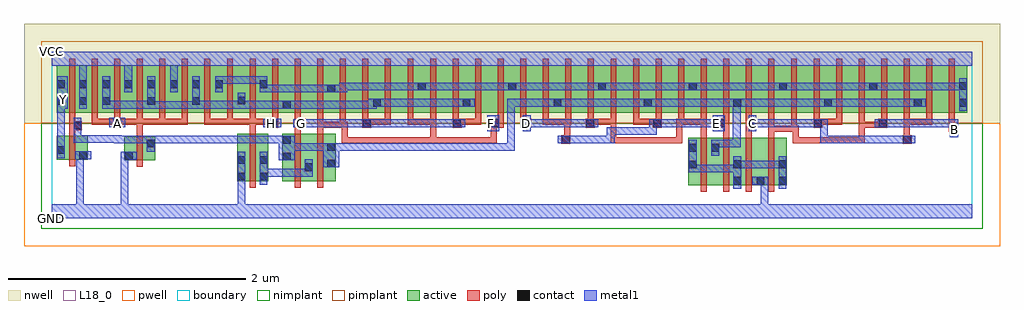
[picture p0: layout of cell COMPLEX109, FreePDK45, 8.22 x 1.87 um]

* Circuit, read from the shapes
.subckt COMPLEX109 A B C D E F G GND H VCC Y
M1 GND n1 Y VSUBS nfet w=0.2u l=0.05u
M2 n1 A GND VSUBS nfet w=0.2u l=0.05u
M3 n2 H GND VSUBS nfet w=0.4u l=0.05u
M4 n2 G n1 VSUBS nfet w=0.4u l=0.05u
M5 n1 F n2 VSUBS nfet w=0.4u l=0.05u
M6 n1 D n3 VSUBS nfet w=0.4u l=0.05u
M7 n3 E n1 VSUBS nfet w=0.4u l=0.05u
M8 GND C n3 VSUBS nfet w=0.4u l=0.05u
M9 n3 B GND VSUBS nfet w=0.4u l=0.05u
M10 VCC n1 Y n4 pfet w=0.4u l=0.05u
M11 n5 A VCC n4 pfet w=0.4u l=0.05u m=5
M12 n6 H n5 n4 pfet w=0.4u l=0.05u m=4
M13 n7 G n5 n4 pfet w=0.4u l=0.05u
M14 n6 F n7 n4 pfet w=0.4u l=0.05u
M15 n8 F n6 n4 pfet w=0.4u l=0.05u
M16 n5 G n8 n4 pfet w=0.4u l=0.05u
M17 n9 G n5 n4 pfet w=0.4u l=0.05u
M18 n6 F n9 n4 pfet w=0.4u l=0.05u
M19 n10 F n6 n4 pfet w=0.4u l=0.05u
M20 n5 G n10 n4 pfet w=0.4u l=0.05u
M21 n11 G n5 n4 pfet w=0.4u l=0.05u
M22 n6 F n11 n4 pfet w=0.4u l=0.05u
M23 n12 D n6 n4 pfet w=0.4u l=0.05u
M24 n1 E n12 n4 pfet w=0.4u l=0.05u
M25 n13 E n1 n4 pfet w=0.4u l=0.05u
M26 n6 D n13 n4 pfet w=0.4u l=0.05u
M27 n14 D n6 n4 pfet w=0.4u l=0.05u
M28 n1 E n14 n4 pfet w=0.4u l=0.05u
M29 n15 E n1 n4 pfet w=0.4u l=0.05u
M30 n6 D n15 n4 pfet w=0.4u l=0.05u
M31 n16 D n6 n4 pfet w=0.4u l=0.05u
M32 n1 E n16 n4 pfet w=0.4u l=0.05u
M33 n17 C n1 n4 pfet w=0.4u l=0.05u
M34 n6 B n17 n4 pfet w=0.4u l=0.05u
M35 n18 B n6 n4 pfet w=0.4u l=0.05u
M36 n1 C n18 n4 pfet w=0.4u l=0.05u
M37 n19 C n1 n4 pfet w=0.4u l=0.05u
M38 n6 B n19 n4 pfet w=0.4u l=0.05u
M39 n20 B n6 n4 pfet w=0.4u l=0.05u
M40 n1 C n20 n4 pfet w=0.4u l=0.05u
M41 n21 C n1 n4 pfet w=0.4u l=0.05u
M42 n6 B n21 n4 pfet w=0.4u l=0.05u
.ends

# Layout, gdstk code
import gdstk
lib = gdstk.Library(unit=1e-6, precision=1e-09)
def R(c, l, rs):  # rectangles x0, y0, x1, y1
    for r in rs: c.add(gdstk.rectangle(r[:2], r[2:], *l))
def A(c, l, x, y, w, h, nx, ny, dx, dy):  # array of equal rectangles
    R(c, l, [(x+i*dx, y+j*dy, x+i*dx+w, y+j*dy+h) for i in range(nx) for j in range(ny)])
active = (1, 0)
pwell = (2, 0)
nwell = (3, 0)
nimplant = (4, 0)
pimplant = (5, 0)
poly = (9, 0)
contact = (10, 0)
metal1 = (11, 0)
L18_0 = (18, 0)
boundary = (235, 0)

complex109 = lib.new_cell('COMPLEX109')
A(complex109, active, 0.04, 0.887, 0.075, 0.313, 3, 1, 0.38, 0)
A(complex109, active, 0.42, 0.887, 0.26, 0.4, 3, 1, 0.57, 0)
A(complex109, active, 0.605, 0.887, 0.27, 0.4, 3, 1, 0.57, 0)
A(complex109, active, 5.36, 0.887, 0.075, 0.313, 3, 1, 0.76, 0)
A(complex109, active, 5.965, 0.887, 0.23, 0.4, 3, 1, 0.38, 0)
A(complex109, active, 6.12, 0.887, 0.225, 0.4, 3, 1, 0.38, 0)
R(complex109, active, [(5.36,0.277,5.435,0.677), (5.36,0.277,5.625,0.677), (5.55,0.277,5.81,0.677), (5.735,0.277,6.005,0.677), (5.735,0.277,5.81,0.597), (5.93,0.277,6.19,0.677), (5.93,0.277,6.005,0.492), (6.115,0.277,6.19,0.677), (1.56,0.312,1.635,0.712), (1.56,0.312,1.82,0.712), (1.745,0.312,1.82,0.597), (1.94,0.312,2.2,0.712), (2.125,0.312,2.39,0.712), (2.125,0.312,2.2,0.597), (2.315,0.312,2.39,0.712), (1.94,0.332,2.015,0.712), (5.55,0.332,5.625,0.63), (0.61,0.487,0.87,0.687), (0.61,0.487,0.685,0.687), (0.04,0.492,0.3,0.692), (0.04,0.492,0.115,0.692), (0.225,0.492,0.3,0.692), (0.795,0.545,0.87,0.687), (0.04,0.887,0.3,1.287), (0.225,0.887,0.3,1.287), (0.225,0.887,0.495,1.287), (0.605,0.887,0.68,1.287), (0.8,0.887,1.065,1.287), (0.99,0.887,1.065,1.287), (1.175,0.887,1.25,1.2), (1.37,0.887,1.635,1.287), (1.37,0.887,1.445,1.2), (1.56,0.887,1.635,1.07), (1.745,0.887,1.82,1.2), (1.94,0.887,2.165,1.287), (1.94,0.887,2.015,1.07), (2.165,0.887,2.39,1.287), (2.315,0.887,2.39,1.2), (2.315,0.887,2.545,1.287), (2.545,0.887,2.775,1.287), (2.7,0.887,2.925,1.287), (2.7,0.887,2.775,1.07), (2.925,0.887,3.152,1.287), (3.077,0.887,3.152,1.2), (3.077,0.887,3.305,1.287), (3.305,0.887,3.53,1.287), (3.455,0.887,3.685,1.287), (3.455,0.887,3.53,1.07), (3.685,0.887,3.915,1.287), (3.84,0.887,3.915,1.2), (3.84,0.887,4.065,1.287), (4.065,0.887,4.295,1.287), (4.22,0.887,4.445,1.287), (4.22,0.887,4.295,1.07), (4.445,0.887,4.67,1.287), (4.595,0.887,4.67,1.2), (4.595,0.887,4.825,1.287), (4.825,0.887,5.055,1.287), (4.98,0.887,5.205,1.287), (4.98,0.887,5.055,1.07), (5.205,0.887,5.435,1.287), (5.36,0.887,5.585,1.287), (5.585,0.887,5.81,1.287), (5.735,0.887,5.965,1.287), (5.735,0.887,5.81,1.07), (6.5,0.887,6.575,1.07), (7.105,0.887,7.33,1.287), (7.255,0.887,7.485,1.287), (7.255,0.887,7.33,1.07), (7.485,0.887,7.71,1.287), (7.635,0.887,7.71,1.2)])
R(complex109, pwell, [(-0.235,-0.235,7.985,0.8)])
R(complex109, nwell, [(-0.235,0.8,7.985,1.635)])
R(complex109, nimplant, [(-0.09,-0.09,7.84,0.8)])
R(complex109, pimplant, [(-0.09,0.8,7.84,1.49)])
A(complex109, poly, 5.465, 0.222, 0.05, 0.51, 4, 1, 0.19, 0)
A(complex109, poly, 2.045, 0.762, 0.092, 0.075, 3, 1, 1.9, 0)
A(complex109, poly, 0.335, 0.787, 0.05, 0.095, 10, 1, 0.19, 0)
A(complex109, poly, 2.615, 0.787, 0.05, 0.095, 18, 1, 0.19, 0)
A(complex109, poly, 6.985, 0.787, 0.05, 0.095, 3, 1, 0.19, 0)
A(complex109, poly, 0.145, 0.832, 0.05, 0.51, 40, 1, 0.19, 0)
R(complex109, poly, [(1.665,0.257,1.715,0.767), (2.045,0.257,2.095,0.767), (2.235,0.257,2.285,0.767), (0.715,0.432,0.765,0.742), (0.145,0.437,0.195,0.747), (4.29,0.625,4.365,0.7), (7.167,0.625,7.242,0.7), (2.44,0.63,2.49,0.68), (2.44,0.63,2.49,0.68), (2.44,0.63,2.49,0.68), (2.44,0.63,2.49,0.68), (2.44,0.63,2.49,0.68), (2.44,0.63,2.49,0.812), (2.44,0.63,2.69,0.68), (2.64,0.63,2.69,0.68), (2.64,0.63,2.69,0.68), (2.64,0.63,2.69,0.68), (2.64,0.63,2.822,0.68), (2.772,0.63,2.822,0.68), (2.772,0.63,2.987,0.68), (2.937,0.63,2.987,0.68), (2.937,0.63,2.987,0.68), (2.937,0.63,2.987,0.68), (2.937,0.63,3.187,0.68), (3.137,0.63,3.187,0.68), (3.137,0.63,3.235,0.68), (3.185,0.63,3.235,0.68), (3.185,0.63,3.235,0.837), (3.185,0.63,3.32,0.68), (3.27,0.63,3.32,0.68), (3.27,0.63,3.367,0.68), (3.317,0.63,3.367,0.68), (3.317,0.63,3.615,0.68), (3.565,0.63,3.615,0.68), (3.565,0.63,3.615,0.68), (3.565,0.63,3.615,0.68), (3.565,0.63,3.747,0.68), (3.697,0.63,3.747,0.68), (3.697,0.63,3.747,0.68), (3.697,0.63,3.747,0.68), (3.697,0.63,3.747,0.812), (4.705,0.63,4.755,0.68), (4.705,0.63,4.755,0.68), (4.705,0.63,4.755,0.68), (4.705,0.63,4.755,0.837), (4.705,0.63,4.977,0.68), (4.927,0.63,4.977,0.68), (4.927,0.63,4.977,0.68), (4.927,0.63,4.977,0.68), (4.927,0.63,5.177,0.68), (5.127,0.63,5.177,0.68), (5.127,0.63,5.177,0.68), (5.127,0.63,5.177,0.68), (5.127,0.63,5.31,0.68), (5.26,0.63,5.31,0.68), (5.26,0.63,5.31,0.837), (6.24,0.63,6.29,0.68), (6.24,0.63,6.29,0.68), (6.24,0.63,6.29,0.68), (6.24,0.63,6.422,0.68), (6.24,0.63,6.29,0.777), (6.372,0.63,6.422,0.68), (6.372,0.63,6.422,0.68), (6.372,0.63,6.422,0.68), (6.372,0.63,6.622,0.68), (6.572,0.63,6.622,0.68), (6.572,0.63,6.622,0.68), (6.572,0.63,6.622,0.68), (6.572,0.63,6.845,0.68), (6.795,0.63,6.845,0.68), (6.795,0.63,6.845,0.68), (6.795,0.63,6.845,0.68), (6.795,0.63,6.845,0.812), (4.315,0.65,4.365,0.7), (4.315,0.65,4.365,0.7), (4.315,0.65,4.365,0.837), (7.175,0.65,7.225,0.7), (7.175,0.65,7.225,0.7), (7.175,0.65,7.225,0.837), (5.465,0.682,5.515,0.837), (5.655,0.682,5.705,0.812), (5.845,0.682,5.895,0.812), (6.035,0.682,6.085,0.777), (0.715,0.692,0.765,0.837), (0.145,0.697,0.195,0.792), (1.665,0.717,1.715,0.837), (2.045,0.717,2.095,0.812), (2.235,0.717,2.285,0.812), (6.035,0.727,6.085,0.777), (6.035,0.727,6.085,0.777), (6.035,0.727,6.085,0.777), (6.035,0.727,6.275,0.777), (6.035,0.727,6.085,0.882), (6.225,0.727,6.275,0.777), (6.225,0.727,6.275,0.777), (6.225,0.727,6.275,0.882), (6.225,0.727,6.29,0.777), (7.555,0.727,7.63,0.802), (0.145,0.742,0.252,0.817), (7.555,0.752,7.605,0.882), (0.512,0.762,0.587,0.837), (1.827,0.762,1.905,0.837), (2.235,0.762,2.285,0.812), (2.235,0.762,2.285,0.812), (2.235,0.762,2.285,0.812), (2.235,0.762,2.475,0.812), (2.235,0.762,2.285,0.882), (2.425,0.762,2.475,0.882), (2.425,0.762,2.49,0.812), (2.615,0.762,2.69,0.837), (3.375,0.762,3.452,0.837), (3.697,0.762,3.747,0.812), (3.697,0.762,3.747,0.812), (3.697,0.762,3.805,0.837), (4.497,0.762,4.572,0.837), (5.06,0.762,5.135,0.837), (5.597,0.762,5.705,0.837), (6.415,0.762,6.49,0.837), (6.795,0.762,6.845,0.812), (6.795,0.762,7.01,0.812), (6.795,0.762,6.845,0.882), (6.96,0.762,7.035,0.837), (6.96,0.762,7.01,0.812), (6.96,0.762,7.01,0.812), (0.145,0.767,0.195,0.882), (0.335,0.787,0.385,0.837), (0.335,0.787,0.385,0.837), (0.335,0.787,0.385,0.837), (0.335,0.787,0.562,0.837), (0.537,0.787,0.765,0.837), (0.715,0.787,0.765,0.837), (0.715,0.787,0.765,0.837), (0.715,0.787,0.765,0.837), (0.715,0.787,0.955,0.837), (0.905,0.787,0.955,0.837), (0.905,0.787,0.955,0.837), (0.905,0.787,0.955,0.837), (0.905,0.787,1.145,0.837), (1.095,0.787,1.145,0.837), (1.095,0.787,1.145,0.837), (1.095,0.787,1.145,0.837), (1.285,0.787,1.335,0.837), (1.285,0.787,1.335,0.837), (1.285,0.787,1.335,0.837), (1.285,0.787,1.525,0.837), (1.475,0.787,1.525,0.837), (1.475,0.787,1.525,0.837), (1.475,0.787,1.525,0.837), (1.475,0.787,1.715,0.837), (1.665,0.787,1.715,0.837), (1.665,0.787,1.877,0.837), (1.827,0.787,1.877,0.837), (1.827,0.787,1.877,0.837), (2.64,0.787,2.855,0.837), (2.805,0.787,2.855,0.837), (2.805,0.787,2.855,0.837), (2.805,0.787,2.855,0.837), (2.995,0.787,3.045,0.837), (2.995,0.787,3.187,0.837), (3.137,0.787,3.187,0.837), (3.137,0.787,3.235,0.837), (3.185,0.787,3.235,0.837), (3.185,0.787,3.235,0.837), (3.185,0.787,3.235,0.837), (3.402,0.787,3.452,0.837), (3.402,0.787,3.452,0.837), (3.402,0.787,3.615,0.837), (3.565,0.787,3.615,0.837), (4.135,0.787,4.185,0.837), (4.135,0.787,4.365,0.837), (4.315,0.787,4.365,0.837), (4.315,0.787,4.365,0.837), (4.315,0.787,4.375,0.837), (4.522,0.787,4.572,0.837), (4.522,0.787,4.572,0.837), (4.522,0.787,4.755,0.837), (4.705,0.787,4.755,0.837), (4.705,0.787,4.755,0.837), (4.705,0.787,4.755,0.837), (4.895,0.787,4.945,0.837), (4.895,0.787,4.945,0.837), (4.895,0.787,4.945,0.837), (4.895,0.787,5.11,0.837), (5.26,0.787,5.31,0.837), (5.26,0.787,5.31,0.837), (5.26,0.787,5.325,0.837), (5.275,0.787,5.515,0.837), (5.465,0.787,5.515,0.837), (5.465,0.787,5.515,0.837), (5.465,0.787,5.515,0.837), (6.415,0.787,6.465,0.882), (6.44,0.787,6.49,0.837), (6.44,0.787,6.49,0.837), (6.44,0.787,6.655,0.837), (6.605,0.787,6.655,0.882), (6.605,0.787,6.655,0.837), (7.175,0.787,7.225,0.837), (7.175,0.787,7.415,0.837), (7.365,0.787,7.415,0.837), (7.365,0.787,7.415,0.837), (7.365,0.787,7.415,0.837)])
A(complex109, contact, 5.365, 1.077, 0.065, 0.065, 3, 1, 0.76, 0)
R(complex109, contact, [(5.74,0.282,5.805,0.347), (5.935,0.282,6,0.347), (6.12,0.282,6.185,0.347), (1.565,0.317,1.63,0.382), (1.75,0.317,1.815,0.382), (2.13,0.395,2.195,0.46), (5.365,0.42,5.43,0.485), (5.74,0.422,5.805,0.487), (6.12,0.422,6.185,0.487), (2.32,0.427,2.385,0.492), (1.565,0.457,1.63,0.522), (1.75,0.457,1.815,0.522), (1.945,0.487,2.01,0.552), (0.615,0.492,0.68,0.557), (0.23,0.497,0.295,0.562), (0.045,0.54,0.11,0.605), (5.365,0.56,5.43,0.625), (5.555,0.56,5.62,0.625), (2.32,0.567,2.385,0.632), (0.8,0.595,0.865,0.66), (1.945,0.627,2.01,0.692), (4.295,0.63,4.36,0.695), (7.172,0.63,7.237,0.695), (7.56,0.732,7.625,0.797), (0.182,0.747,0.247,0.812), (0.517,0.767,0.582,0.832), (1.832,0.767,1.897,0.832), (2.067,0.767,2.132,0.832), (2.62,0.767,2.685,0.832), (3.38,0.767,3.445,0.832), (3.702,0.767,3.767,0.832), (3.967,0.767,4.032,0.832), (4.502,0.767,4.567,0.832), (5.065,0.767,5.13,0.832), (5.602,0.767,5.667,0.832), (5.867,0.767,5.932,0.832), (6.42,0.767,6.485,0.832), (6.965,0.767,7.03,0.832), (1.945,0.922,2.01,0.987), (2.705,0.94,2.77,1.005), (3.46,0.94,3.525,1.005), (4.225,0.94,4.29,1.005), (4.985,0.94,5.05,1.005), (5.74,0.94,5.805,1.005), (6.505,0.94,6.57,1.005), (7.26,0.94,7.325,1.005), (7.64,0.94,7.705,1.005), (0.045,0.955,0.11,1.02), (0.23,0.955,0.295,1.02), (0.425,0.955,0.49,1.02), (0.805,0.955,0.87,1.02), (1.18,0.955,1.245,1.02), (1.565,0.957,1.63,1.022), (2.32,1.06,2.385,1.125), (3.082,1.077,3.147,1.142), (3.845,1.077,3.91,1.142), (4.6,1.077,4.665,1.142), (7.64,1.08,7.705,1.145), (0.045,1.095,0.11,1.16), (0.23,1.095,0.295,1.16), (0.425,1.095,0.49,1.16), (0.61,1.095,0.675,1.16), (0.805,1.095,0.87,1.16), (0.995,1.095,1.06,1.16), (1.18,1.095,1.245,1.16), (1.375,1.095,1.44,1.16), (1.75,1.095,1.815,1.16)])
A(complex109, metal1, 2.422, 0.767, 0.16, 0.065, 1, 3, 0, 0.155)
A(complex109, metal1, 2.517, 0.767, 0.065, 0.065, 1, 3, 0, 0.155)
A(complex109, metal1, 5.33, 1.077, 0.135, 0.065, 3, 1, 0.76, 0)
R(complex109, metal1, [(0,0,7.75,0.115), (0.205,0.05,0.27,0.562), (0.58,0.05,0.645,0.115), (0.58,0.05,0.645,0.115), (0.58,0.05,0.645,0.115), (0.58,0.05,0.645,0.115), (0.58,0.05,0.645,0.557), (1.565,0.05,1.63,0.115), (1.565,0.05,1.63,0.115), (1.565,0.05,1.63,0.115), (1.565,0.05,1.63,0.115), (1.565,0.05,1.63,0.347), (5.97,0.05,6.035,0.115), (5.97,0.05,6.035,0.115), (5.97,0.05,6.035,0.115), (5.97,0.05,6.035,0.115), (5.97,0.05,6.035,0.347), (5.74,0.247,5.805,0.522), (6.12,0.247,6.185,0.522), (1.565,0.282,1.63,0.557), (1.75,0.282,1.815,0.557), (5.9,0.282,6.035,0.347), (1.75,0.35,1.815,0.415), (1.75,0.35,1.815,0.415), (1.75,0.35,1.975,0.415), (1.91,0.35,1.975,0.415), (1.91,0.35,2.195,0.415), (2.13,0.35,2.195,0.425), (2.13,0.36,2.195,0.425), (2.13,0.36,2.195,0.495), (5.365,0.385,5.43,0.66), (5.365,0.385,5.482,0.45), (5.417,0.385,5.482,0.45), (5.417,0.385,5.632,0.45), (5.567,0.385,5.632,0.45), (5.567,0.385,5.632,0.45), (5.567,0.385,5.632,0.45), (5.567,0.385,5.805,0.45), (5.74,0.42,5.965,0.485), (5.9,0.42,5.965,0.485), (5.9,0.42,5.965,0.485), (5.9,0.42,5.965,0.485), (5.9,0.42,6.12,0.485), (6.055,0.42,6.12,0.485), (6.055,0.42,6.185,0.485), (2.285,0.427,2.42,0.632), (1.91,0.487,2.045,0.695), (0.58,0.492,0.645,0.557), (0.58,0.492,0.645,0.557), (0.58,0.492,0.645,0.557), (0.58,0.492,0.645,0.557), (0.58,0.492,0.715,0.557), (0.195,0.497,0.33,0.562), (0.205,0.497,0.27,0.562), (0.205,0.497,0.27,0.562), (0.205,0.497,0.27,0.562), (0.205,0.497,0.27,0.562), (0.205,0.497,0.27,0.562), (0.205,0.497,0.27,0.562), (0.205,0.497,0.27,0.562), (0.205,0.497,0.27,0.562), (0.045,0.505,0.11,0.64), (5.555,0.525,5.62,0.66), (0.8,0.56,0.865,0.695), (1.98,0.567,2.045,0.632), (1.98,0.567,2.045,0.632), (1.98,0.567,2.182,0.632), (2.117,0.567,2.182,0.632), (2.117,0.567,2.35,0.632), (2.285,0.567,2.35,0.632), (2.285,0.567,2.35,0.632), (2.355,0.567,2.487,0.632), (2.422,0.567,2.487,0.632), (2.422,0.567,2.582,0.632), (2.517,0.567,2.582,0.632), (2.517,0.567,2.72,0.632), (2.655,0.567,2.72,0.632), (2.655,0.567,2.72,0.632), (2.655,0.567,2.72,0.632), (2.655,0.567,2.942,0.632), (2.877,0.567,2.942,0.632), (2.877,0.567,2.942,0.632), (2.877,0.567,2.942,0.632), (2.877,0.567,3.08,0.632), (3.015,0.567,3.08,0.632), (3.015,0.567,3.08,0.632), (3.015,0.567,3.08,0.632), (3.015,0.567,3.272,0.632), (3.207,0.567,3.272,0.632), (3.207,0.567,3.32,0.632), (3.255,0.567,3.32,0.632), (3.255,0.567,3.457,0.632), (3.392,0.567,3.457,0.632), (3.392,0.567,3.457,0.632), (3.392,0.567,3.457,0.632), (3.392,0.567,3.595,0.632), (3.53,0.567,3.595,0.632), (3.53,0.567,3.737,0.632), (3.672,0.567,3.737,0.632), (3.672,0.567,3.737,0.632), (3.672,0.567,3.737,0.632), (3.672,0.567,3.9,0.632), (3.835,0.567,3.9,0.632), (3.835,0.567,3.9,1.005), (0.045,0.575,0.11,0.64), (0.045,0.575,0.11,0.645), (0.045,0.58,0.11,0.645), (0.045,0.58,0.11,0.645), (0.045,0.58,0.11,0.985), (5.555,0.595,5.62,0.66), (5.555,0.595,5.62,0.66), (5.555,0.595,5.8,0.66), (5.735,0.595,5.8,0.66), (5.735,0.595,5.8,1.005), (0.525,0.63,0.727,0.695), (0.525,0.63,0.59,0.7), (0.662,0.63,0.727,0.695), (0.662,0.63,0.727,0.695), (0.662,0.63,0.727,0.695), (0.662,0.63,0.865,0.695), (0.8,0.63,0.865,0.695), (0.8,0.63,0.865,0.695), (0.8,0.63,1.107,0.695), (1.042,0.63,1.107,0.695), (1.042,0.63,1.107,0.695), (1.042,0.63,1.107,0.695), (1.042,0.63,1.245,0.695), (1.18,0.63,1.245,0.695), (1.18,0.63,1.245,0.695), (1.18,0.63,1.245,0.695), (1.18,0.63,1.492,0.695), (1.427,0.63,1.492,0.695), (1.427,0.63,1.492,0.695), (1.427,0.63,1.492,0.695), (1.427,0.63,1.677,0.695), (1.612,0.63,1.677,0.695), (1.612,0.63,1.677,0.695), (1.612,0.63,1.677,0.695), (1.612,0.63,1.837,0.695), (1.772,0.63,1.837,0.695), (1.772,0.63,1.837,0.695), (1.772,0.63,1.837,0.695), (1.772,0.63,1.975,0.695), (4.26,0.63,4.395,0.695), (4.33,0.63,4.462,0.695), (4.397,0.63,4.462,0.695), (4.397,0.63,4.602,0.695), (4.537,0.63,4.602,0.695), (4.537,0.63,4.74,0.695), (4.675,0.63,4.74,0.695), (4.675,0.63,4.74,0.767), (6.47,0.63,6.535,0.695), (6.47,0.63,6.535,0.695), (6.47,0.63,6.535,0.695), (6.47,0.63,6.672,0.695), (6.47,0.63,6.535,0.832), (6.607,0.63,6.672,0.695), (6.607,0.63,6.777,0.695), (6.712,0.63,6.777,0.695), (6.712,0.63,6.81,0.695), (6.745,0.63,6.81,0.695), (6.745,0.63,6.947,0.695), (6.882,0.63,6.947,0.695), (6.882,0.63,6.947,0.695), (6.882,0.63,6.947,0.695), (6.882,0.63,7.152,0.695), (7.087,0.63,7.152,0.695), (7.087,0.63,7.202,0.695), (7.137,0.63,7.272,0.695), (0.182,0.635,0.247,0.7), (0.182,0.635,0.385,0.7), (0.182,0.635,0.247,0.777), (0.32,0.635,0.385,0.7), (0.32,0.635,0.385,0.7), (0.32,0.635,0.385,0.7), (0.32,0.635,0.59,0.7), (7.56,0.682,7.632,0.832), (4.675,0.702,4.74,0.767), (4.675,0.702,4.74,0.767), (4.675,0.702,4.74,0.767), (4.675,0.702,4.877,0.767), (4.812,0.702,4.877,0.767), (4.812,0.702,4.877,0.767), (4.812,0.702,4.877,0.767), (4.812,0.702,5.095,0.767), (5.03,0.702,5.095,0.832), (0.182,0.712,0.247,0.777), (0.182,0.712,0.247,0.777), (0.182,0.712,0.247,0.847), (3.667,0.732,3.767,0.867), (3.967,0.732,4.032,0.867), (5.567,0.732,5.667,0.867), (5.867,0.732,5.932,0.867), (0.482,0.767,0.617,0.845), (1.782,0.767,1.932,0.835), (2.032,0.767,2.167,0.832), (2.102,0.767,2.182,0.832), (2.117,0.767,2.182,0.832), (2.117,0.767,2.35,0.832), (2.285,0.767,2.35,0.832), (2.285,0.767,2.35,0.832), (2.285,0.767,2.35,0.832), (2.285,0.767,2.487,0.832), (2.422,0.767,2.487,0.832), (2.517,0.767,2.65,0.832), (2.585,0.767,2.72,0.832), (2.655,0.767,2.72,0.832), (2.655,0.767,2.72,0.832), (2.655,0.767,2.942,0.832), (2.877,0.767,2.942,0.832), (2.877,0.767,2.942,0.832), (2.877,0.767,2.942,0.832), (2.877,0.767,3.117,0.832), (3.052,0.767,3.117,0.832), (3.052,0.767,3.117,0.832), (3.052,0.767,3.117,0.832), (3.052,0.767,3.255,0.832), (3.19,0.767,3.255,0.832), (3.19,0.767,3.32,0.832), (3.255,0.767,3.32,0.832), (3.255,0.767,3.41,0.832), (3.345,0.767,3.48,0.832), (3.967,0.767,4.117,0.832), (4.052,0.767,4.117,0.832), (4.052,0.767,4.187,0.832), (4.122,0.767,4.187,0.832), (4.122,0.767,4.325,0.832), (4.26,0.767,4.325,0.832), (4.26,0.767,4.325,0.832), (4.26,0.767,4.325,0.832), (4.26,0.767,4.462,0.832), (4.397,0.767,4.462,0.832), (4.397,0.767,4.532,0.832), (4.467,0.767,4.602,0.832), (5.03,0.767,5.095,0.832), (5.03,0.767,5.095,0.832), (5.03,0.767,5.095,0.832), (5.03,0.767,5.165,0.832), (5.1,0.767,5.257,0.832), (5.192,0.767,5.257,0.832), (5.192,0.767,5.302,0.832), (5.237,0.767,5.302,0.832), (5.237,0.767,5.482,0.832), (5.417,0.767,5.482,0.832), (5.417,0.767,5.482,0.832), (5.417,0.767,5.482,0.832), (5.417,0.767,5.632,0.832), (5.567,0.767,5.632,0.832), (5.567,0.767,5.632,0.832), (5.867,0.767,5.982,0.832), (5.917,0.767,5.982,0.832), (5.917,0.767,6.12,0.832), (6.055,0.767,6.12,0.832), (6.055,0.767,6.257,0.832), (6.192,0.767,6.257,0.832), (6.192,0.767,6.257,0.832), (6.192,0.767,6.257,0.832), (6.192,0.767,6.395,0.832), (6.33,0.767,6.395,0.832), (6.33,0.767,6.45,0.832), (6.385,0.767,6.52,0.832), (6.455,0.767,6.535,0.832), (6.47,0.767,6.535,0.832), (6.93,0.767,7.065,0.832), (7,0.767,7.152,0.832), (7.087,0.767,7.152,0.832), (7.087,0.767,7.29,0.832), (7.225,0.767,7.29,0.832), (7.225,0.767,7.29,0.832), (7.225,0.767,7.29,0.832), (7.225,0.767,7.427,0.832), (7.362,0.767,7.427,0.832), (7.362,0.767,7.427,0.832), (7.362,0.767,7.427,0.832), (7.362,0.767,7.625,0.832), (7.64,0.905,7.705,1.18), (0.045,0.92,0.11,0.985), (0.045,0.92,0.11,0.985), (0.045,0.92,0.132,1.195), (0.23,0.92,0.295,1.195), (0.425,0.92,0.49,1.195), (0.805,0.92,0.87,0.985), (0.805,0.92,0.87,0.985), (0.805,0.92,0.87,1.195), (0.805,0.92,1.107,0.985), (1.042,0.92,1.107,0.985), (1.042,0.92,1.107,0.985), (1.042,0.92,1.107,0.985), (1.042,0.92,1.245,0.985), (1.18,0.92,1.245,1.195), (0.425,0.922,0.535,0.987), (0.47,0.922,0.535,0.987), (0.47,0.922,0.727,0.987), (0.662,0.922,0.727,0.987), (0.662,0.922,0.727,0.987), (0.662,0.922,0.727,0.987), (0.662,0.922,0.87,0.987), (1.18,0.922,1.245,0.987), (1.18,0.922,1.245,0.987), (1.18,0.922,1.492,0.987), (1.427,0.922,1.492,0.987), (1.427,0.922,1.492,0.987), (1.427,0.922,1.492,0.987), (1.427,0.922,1.63,0.987), (1.565,0.922,1.63,0.987), (1.565,0.922,1.63,0.987), (1.565,0.922,1.63,1.057), (1.565,0.922,1.815,0.987), (1.75,0.922,1.815,0.987), (1.75,0.922,1.815,0.987), (1.75,0.922,1.815,0.987), (1.75,0.922,1.975,0.987), (1.91,0.922,2.045,0.987), (1.98,0.922,2.045,0.987), (1.98,0.922,2.045,0.987), (1.98,0.922,2.182,0.987), (2.117,0.922,2.182,0.987), (2.117,0.922,2.35,0.987), (2.285,0.922,2.35,0.987), (2.285,0.922,2.35,0.987), (2.285,0.922,2.35,0.987), (2.285,0.922,2.487,0.987), (2.422,0.922,2.487,0.987), (2.517,0.922,2.735,0.987), (2.67,0.922,2.735,1.005), (2.67,0.94,2.735,1.005), (2.67,0.94,2.805,1.005), (2.74,0.94,2.942,1.005), (2.877,0.94,2.942,1.005), (2.877,0.94,2.942,1.005), (2.877,0.94,2.942,1.005), (2.877,0.94,3.082,1.005), (3.017,0.94,3.082,1.005), (3.017,0.94,3.182,1.005), (3.117,0.94,3.182,1.005), (3.117,0.94,3.255,1.005), (3.19,0.94,3.255,1.005), (3.19,0.94,3.32,1.005), (3.255,0.94,3.32,1.005), (3.255,0.94,3.457,1.005), (3.392,0.94,3.457,1.005), (3.392,0.94,3.49,1.005), (3.425,0.94,3.56,1.005), (3.835,0.94,3.9,1.005), (3.835,0.94,3.9,1.005), (3.835,0.94,3.9,1.005), (3.835,0.94,3.905,1.005), (3.84,0.94,3.905,1.005), (3.84,0.94,4.082,1.005), (4.017,0.94,4.082,1.005), (4.017,0.94,4.187,1.005), (4.122,0.94,4.187,1.005), (4.122,0.94,4.255,1.005), (4.19,0.94,4.325,1.005), (4.26,0.94,4.325,1.005), (4.26,0.94,4.325,1.005), (4.26,0.94,4.462,1.005), (4.397,0.94,4.462,1.005), (4.397,0.94,4.6,1.005), (4.535,0.94,4.6,1.005), (4.535,0.94,4.6,1.005), (4.535,0.94,4.6,1.005), (4.535,0.94,4.74,1.005), (4.675,0.94,4.74,1.005), (4.675,0.94,4.877,1.005), (4.812,0.94,4.877,1.005), (4.812,0.94,4.877,1.005), (4.812,0.94,4.877,1.005), (4.812,0.94,5.015,1.005), (4.95,0.94,5.085,1.005), (5.02,0.94,5.085,1.005), (5.02,0.94,5.085,1.005), (5.02,0.94,5.257,1.005), (5.192,0.94,5.257,1.005), (5.192,0.94,5.302,1.005), (5.237,0.94,5.302,1.005), (5.237,0.94,5.482,1.005), (5.417,0.94,5.482,1.005), (5.417,0.94,5.482,1.005), (5.417,0.94,5.482,1.005), (5.417,0.94,5.632,1.005), (5.567,0.94,5.632,1.005), (5.567,0.94,5.77,1.005), (5.705,0.94,5.77,1.005), (5.705,0.94,5.77,1.005), (5.705,0.94,5.84,1.005), (5.735,0.94,5.8,1.005), (5.735,0.94,5.8,1.005), (5.762,0.94,5.827,1.005), (5.762,0.94,5.827,1.005), (5.762,0.94,5.977,1.005), (5.912,0.94,5.977,1.005), (5.912,0.94,5.977,1.005), (5.912,0.94,5.977,1.005), (5.912,0.94,6.12,1.005), (6.055,0.94,6.12,1.005), (6.055,0.94,6.12,1.005), (6.055,0.94,6.12,1.005), (6.055,0.94,6.257,1.005), (6.192,0.94,6.257,1.005), (6.192,0.94,6.395,1.005), (6.33,0.94,6.395,1.005), (6.33,0.94,6.535,1.005), (6.47,0.94,6.535,1.005), (6.47,0.94,6.535,1.005), (6.47,0.94,6.605,1.005), (6.54,0.94,6.672,1.005), (6.607,0.94,6.672,1.005), (6.607,0.94,6.777,1.005), (6.712,0.94,6.777,1.005), (6.712,0.94,6.81,1.005), (6.745,0.94,6.81,1.005), (6.745,0.94,7,1.005), (6.935,0.94,7,1.005), (6.935,0.94,7,1.005), (6.935,0.94,7,1.005), (6.935,0.94,7.152,1.005), (7.087,0.94,7.152,1.005), (7.087,0.94,7.29,1.005), (7.225,0.94,7.29,1.005), (7.225,0.94,7.29,1.005), (7.225,0.94,7.36,1.005), (0.61,1.06,0.675,1.195), (0.995,1.06,1.06,1.195), (1.375,1.06,1.44,1.195), (1.75,1.06,1.815,1.125), (1.75,1.06,1.815,1.125), (1.75,1.06,1.815,1.195), (1.75,1.06,2.045,1.125), (1.98,1.06,2.045,1.125), (1.98,1.06,2.045,1.125), (1.98,1.06,2.045,1.125), (1.98,1.06,2.182,1.125), (2.117,1.06,2.182,1.125), (2.117,1.06,2.35,1.125), (2.285,1.06,2.35,1.125), (2.285,1.06,2.35,1.125), (2.285,1.06,2.42,1.125), (2.355,1.06,2.487,1.125), (2.422,1.06,2.487,1.142), (2.517,1.077,2.805,1.142), (2.74,1.077,2.805,1.142), (2.74,1.077,2.805,1.142), (2.74,1.077,2.805,1.142), (2.74,1.077,2.942,1.142), (2.877,1.077,2.942,1.142), (2.877,1.077,2.942,1.142), (2.877,1.077,2.942,1.142), (2.877,1.077,3.112,1.142), (3.047,1.077,3.112,1.142), (3.047,1.077,3.112,1.142), (3.047,1.077,3.182,1.142), (3.117,1.077,3.272,1.142), (3.207,1.077,3.272,1.142), (3.207,1.077,3.32,1.142), (3.255,1.077,3.32,1.142), (3.255,1.077,3.457,1.142), (3.392,1.077,3.457,1.142), (3.392,1.077,3.457,1.142), (3.392,1.077,3.457,1.142), (3.392,1.077,3.595,1.142), (3.53,1.077,3.595,1.142), (3.53,1.077,3.595,1.142), (3.53,1.077,3.595,1.142), (3.53,1.077,3.762,1.142), (3.697,1.077,3.762,1.142), (3.697,1.077,3.875,1.142), (3.81,1.077,3.945,1.142), (3.88,1.077,3.945,1.142), (3.88,1.077,3.945,1.142), (3.88,1.077,4.117,1.142), (4.052,1.077,4.117,1.142), (4.052,1.077,4.187,1.142), (4.122,1.077,4.187,1.142), (4.122,1.077,4.325,1.142), (4.26,1.077,4.325,1.142), (4.26,1.077,4.325,1.142), (4.26,1.077,4.325,1.142), (4.26,1.077,4.462,1.142), (4.397,1.077,4.462,1.142), (4.397,1.077,4.532,1.142), (4.467,1.077,4.532,1.142), (4.467,1.077,4.63,1.142), (4.565,1.077,4.7,1.142), (4.635,1.077,4.74,1.142), (4.675,1.077,4.74,1.142), (4.675,1.077,4.877,1.142), (4.812,1.077,4.877,1.142), (4.812,1.077,4.877,1.142), (4.812,1.077,4.877,1.142), (4.812,1.077,5.12,1.142), (5.055,1.077,5.12,1.142), (5.055,1.077,5.12,1.142), (5.055,1.077,5.12,1.142), (5.055,1.077,5.257,1.142), (5.192,1.077,5.257,1.142), (5.192,1.077,5.302,1.142), (5.237,1.077,5.302,1.142), (5.237,1.077,5.395,1.142), (5.4,1.077,5.465,1.142), (5.4,1.077,5.465,1.142), (5.4,1.077,5.62,1.142), (5.555,1.077,5.62,1.142), (5.555,1.077,5.795,1.142), (5.73,1.077,5.795,1.142), (5.73,1.077,5.795,1.142), (5.73,1.077,5.795,1.142), (5.73,1.077,5.965,1.142), (5.9,1.077,5.965,1.142), (5.9,1.077,5.965,1.142), (5.9,1.077,5.965,1.142), (5.9,1.077,6.12,1.142), (6.055,1.077,6.12,1.142), (6.055,1.077,6.155,1.142), (6.16,1.077,6.257,1.142), (6.192,1.077,6.257,1.142), (6.192,1.077,6.397,1.142), (6.332,1.077,6.397,1.142), (6.332,1.077,6.397,1.142), (6.332,1.077,6.397,1.142), (6.332,1.077,6.572,1.142), (6.507,1.077,6.572,1.142), (6.507,1.077,6.672,1.142), (6.607,1.077,6.672,1.142), (6.607,1.077,6.777,1.142), (6.712,1.077,6.777,1.142), (6.712,1.077,6.81,1.142), (6.745,1.077,6.81,1.142), (6.745,1.077,6.915,1.142), (6.92,1.077,6.985,1.142), (6.92,1.077,6.985,1.142), (6.92,1.077,7.137,1.142), (7.072,1.077,7.137,1.142), (7.072,1.077,7.29,1.142), (7.225,1.077,7.29,1.142), (7.225,1.077,7.29,1.142), (7.225,1.077,7.29,1.142), (7.225,1.077,7.487,1.142), (7.422,1.077,7.487,1.142), (7.422,1.077,7.487,1.142), (7.422,1.077,7.487,1.142), (7.422,1.077,7.705,1.142), (7.64,1.077,7.705,1.142), (7.64,1.077,7.705,1.142), (0.23,1.13,0.295,1.35), (0.61,1.13,0.675,1.35), (0.995,1.13,1.06,1.35), (1.375,1.13,1.44,1.195), (1.375,1.13,1.44,1.195), (1.375,1.13,1.677,1.195), (1.612,1.13,1.677,1.195), (1.612,1.13,1.677,1.195), (1.612,1.13,1.677,1.195), (1.612,1.13,1.815,1.195), (0,1.285,7.75,1.4)])
R(complex109, L18_0, [(0,0,7.75,0.115), (0.205,0.05,0.27,0.562), (0.58,0.05,0.645,0.115), (0.58,0.05,0.645,0.115), (0.58,0.05,0.645,0.115), (0.58,0.05,0.645,0.115), (0.58,0.05,0.645,0.557), (1.565,0.05,1.63,0.115), (1.565,0.05,1.63,0.115), (1.565,0.05,1.63,0.115), (1.565,0.05,1.63,0.115), (1.565,0.05,1.63,0.347), (5.97,0.05,6.035,0.115), (5.97,0.05,6.035,0.115), (5.97,0.05,6.035,0.115), (5.97,0.05,6.035,0.115), (5.97,0.05,6.035,0.347), (1.565,0.282,1.63,0.557), (5.9,0.282,6.035,0.347), (0.58,0.492,0.645,0.557), (0.58,0.492,0.645,0.557), (0.58,0.492,0.645,0.557), (0.58,0.492,0.645,0.557), (0.58,0.492,0.715,0.557), (0.195,0.497,0.33,0.562), (0.205,0.497,0.27,0.562), (0.205,0.497,0.27,0.562), (0.205,0.497,0.27,0.562), (0.205,0.497,0.27,0.562), (0.205,0.497,0.27,0.562), (0.205,0.497,0.27,0.562), (0.205,0.497,0.27,0.562), (0.205,0.497,0.27,0.562), (0.045,0.505,0.11,0.64), (0.045,0.575,0.11,0.645), (0.045,0.575,0.11,0.64), (0.045,0.58,0.11,0.645), (0.045,0.58,0.11,0.645), (0.045,0.58,0.11,0.985), (4.26,0.63,4.395,0.695), (4.33,0.63,4.462,0.695), (4.397,0.63,4.462,0.695), (4.397,0.63,4.602,0.695), (4.537,0.63,4.602,0.695), (4.537,0.63,4.74,0.695), (4.675,0.63,4.74,0.695), (4.675,0.63,4.74,0.767), (6.47,0.63,6.535,0.695), (6.47,0.63,6.535,0.695), (6.47,0.63,6.535,0.695), (6.47,0.63,6.672,0.695), (6.47,0.63,6.535,0.832), (6.607,0.63,6.672,0.695), (6.607,0.63,6.777,0.695), (6.712,0.63,6.777,0.695), (6.712,0.63,6.81,0.695), (6.745,0.63,6.81,0.695), (6.745,0.63,6.947,0.695), (6.882,0.63,6.947,0.695), (6.882,0.63,6.947,0.695), (6.882,0.63,6.947,0.695), (6.882,0.63,7.152,0.695), (7.087,0.63,7.152,0.695), (7.087,0.63,7.202,0.695), (7.137,0.63,7.272,0.695), (7.56,0.682,7.632,0.832), (4.675,0.702,4.74,0.767), (4.675,0.702,4.74,0.767), (4.675,0.702,4.74,0.767), (4.675,0.702,4.877,0.767), (4.812,0.702,4.877,0.767), (4.812,0.702,4.877,0.767), (4.812,0.702,4.877,0.767), (4.812,0.702,5.095,0.767), (5.03,0.702,5.095,0.832), (7.567,0.717,7.632,0.782), (3.667,0.732,3.767,0.867), (3.967,0.732,4.032,0.867), (5.567,0.732,5.667,0.867), (5.867,0.732,5.932,0.867), (0.482,0.767,0.617,0.845), (0.517,0.767,0.582,0.832), (1.782,0.767,1.932,0.835), (1.817,0.767,1.882,0.832), (2.032,0.767,2.167,0.832), (2.067,0.767,2.132,0.832), (2.102,0.767,2.182,0.832), (2.117,0.767,2.182,0.832), (2.117,0.767,2.35,0.832), (2.285,0.767,2.35,0.832), (2.285,0.767,2.35,0.832), (2.285,0.767,2.35,0.832), (2.285,0.767,2.487,0.832), (2.422,0.767,2.487,0.832), (2.422,0.767,2.582,0.832), (2.517,0.767,2.582,0.832), (2.517,0.767,2.65,0.832), (2.585,0.767,2.72,0.832), (2.655,0.767,2.72,0.832), (2.655,0.767,2.72,0.832), (2.655,0.767,2.942,0.832), (2.877,0.767,2.942,0.832), (2.877,0.767,2.942,0.832), (2.877,0.767,2.942,0.832), (2.877,0.767,3.117,0.832), (3.052,0.767,3.117,0.832), (3.052,0.767,3.117,0.832), (3.052,0.767,3.117,0.832), (3.052,0.767,3.255,0.832), (3.19,0.767,3.255,0.832), (3.19,0.767,3.32,0.832), (3.255,0.767,3.32,0.832), (3.255,0.767,3.41,0.832), (3.345,0.767,3.48,0.832), (3.667,0.767,3.732,0.832), (3.967,0.767,4.032,0.832), (3.967,0.767,4.117,0.832), (4.052,0.767,4.117,0.832), (4.052,0.767,4.187,0.832), (4.122,0.767,4.187,0.832), (4.122,0.767,4.325,0.832), (4.26,0.767,4.325,0.832), (4.26,0.767,4.325,0.832), (4.26,0.767,4.325,0.832), (4.26,0.767,4.462,0.832), (4.397,0.767,4.462,0.832), (4.397,0.767,4.532,0.832), (4.467,0.767,4.602,0.832), (5.03,0.767,5.095,0.832), (5.03,0.767,5.095,0.832), (5.03,0.767,5.095,0.832), (5.03,0.767,5.165,0.832), (5.1,0.767,5.257,0.832), (5.192,0.767,5.257,0.832), (5.192,0.767,5.302,0.832), (5.237,0.767,5.302,0.832), (5.237,0.767,5.482,0.832), (5.417,0.767,5.482,0.832), (5.417,0.767,5.482,0.832), (5.417,0.767,5.482,0.832), (5.417,0.767,5.632,0.832), (5.567,0.767,5.632,0.832), (5.567,0.767,5.632,0.832), (5.567,0.767,5.632,0.832), (5.867,0.767,5.932,0.832), (5.867,0.767,5.982,0.832), (5.917,0.767,5.982,0.832), (5.917,0.767,6.12,0.832), (6.055,0.767,6.12,0.832), (6.055,0.767,6.257,0.832), (6.192,0.767,6.257,0.832), (6.192,0.767,6.257,0.832), (6.192,0.767,6.257,0.832), (6.192,0.767,6.395,0.832), (6.33,0.767,6.395,0.832), (6.33,0.767,6.45,0.832), (6.385,0.767,6.52,0.832), (6.455,0.767,6.535,0.832), (6.47,0.767,6.535,0.832), (6.93,0.767,7.065,0.832), (7,0.767,7.152,0.832), (7.087,0.767,7.152,0.832), (7.087,0.767,7.29,0.832), (7.225,0.767,7.29,0.832), (7.225,0.767,7.29,0.832), (7.225,0.767,7.29,0.832), (7.225,0.767,7.427,0.832), (7.362,0.767,7.427,0.832), (7.362,0.767,7.427,0.832), (7.362,0.767,7.427,0.832), (7.362,0.767,7.625,0.832), (0.045,0.92,0.11,0.985), (0.045,0.92,0.11,0.985), (0.045,0.92,0.132,1.195), (0.23,0.92,0.295,1.195), (0.067,0.967,0.132,1.032), (0.61,1.06,0.675,1.195), (0.995,1.06,1.06,1.195), (0.23,1.13,0.295,1.35), (0.61,1.13,0.675,1.35), (0.995,1.13,1.06,1.35), (0,1.285,7.75,1.4)])
R(complex109, boundary, [(0,0,7.75,1.4)])
complex109.add(gdstk.Label('A', (0.55,0.8), layer=11, texttype=0))
complex109.add(gdstk.Label('B', (7.6,0.75), layer=11, texttype=0))
complex109.add(gdstk.Label('C', (5.9,0.8), layer=11, texttype=0))
complex109.add(gdstk.Label('D', (4,0.8), layer=11, texttype=0))
complex109.add(gdstk.Label('E', (5.6,0.8), layer=11, texttype=0))
complex109.add(gdstk.Label('F', (3.7,0.8), layer=11, texttype=0))
complex109.add(gdstk.Label('G', (2.1,0.8), layer=11, texttype=0))
complex109.add(gdstk.Label('H', (1.85,0.8), layer=11, texttype=0))
complex109.add(gdstk.Label('Y', (0.1,1), layer=11, texttype=0))
complex109.add(gdstk.Label('VCC', (0,1.4), layer=11, texttype=0))
complex109.add(gdstk.Label('GND', (0,0), layer=11, texttype=0))

lib.write_gds('COMPLEX109.gds')
